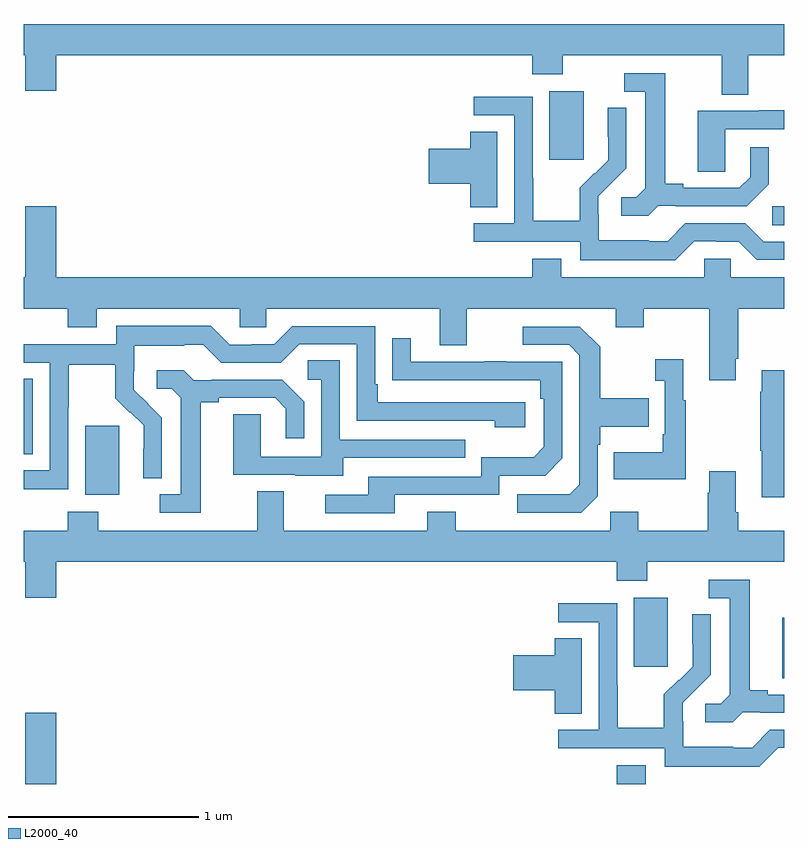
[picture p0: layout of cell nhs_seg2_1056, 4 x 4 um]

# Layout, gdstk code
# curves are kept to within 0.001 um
import gdstk
lib = gdstk.Library(unit=1e-6, precision=1e-09)
def R(c, l, rs):  # rectangles x0, y0, x1, y1
    for r in rs: c.add(gdstk.rectangle(r[:2], r[2:], *l))
def P(c, l, *ps):  # polygons
    for p in ps: c.add(gdstk.Polygon(p, *l))
L2000_40 = (2000, 40)

nhs_seg2_1056 = lib.new_cell('nhs_seg2_1056')
R(nhs_seg2_1056, L2000_40, [(165.008,647.8,165.172,648.175), (168.119,647.8,168.271,647.899), (168.989,648.355,169,648.675), (168.209,648.417,168.388,648.778), (165.323,649.322,165.502,649.683), (165,649.534,165.049,649.931), (168.936,650.737,169,650.838), (167.765,651.081,167.944,651.442)])
P(nhs_seg2_1056, L2000_40, [(168.811,651.632),(169,651.632),(169,651.796),(165,651.796),(165,651.632),(165.008,651.632),(165.008,651.444),(165.172,651.444),(165.172,651.632),(167.675,651.632),(167.675,651.533),(167.835,651.533),(167.835,651.632),(168.671,651.632),(168.671,651.424),(168.811,651.424)],
  [(168.336,650.841),(168.43,650.841),(168.43,650.838),(168.802,650.838),(168.918,650.954),(168.918,651.148),(168.821,651.148),(168.821,650.991),(168.764,650.934),(168.469,650.934),(168.469,650.957),(168.373,650.957),(168.373,651.537),(168.159,651.537),(168.159,651.441),(168.269,651.441),(168.269,650.933),(168.222,650.886),(168.141,650.886),(168.141,650.789),(168.284,650.789)],
  [(168.525,650.655),(168.641,650.655),(168.641,650.652),(168.759,650.652),(168.855,650.556),(169,650.556),(169,650.652),(168.891,650.652),(168.795,650.748),(168.48,650.748),(168.387,650.655),(168.287,650.655),(168.287,650.659),(168.024,650.659),(168.024,650.793),(168.022,650.793),(168.022,650.89),(168.168,651.038),(168.168,651.356),(168.072,651.356),(168.072,651.202),(168.074,651.202),(168.074,651.08),(168.003,651.009),(168,651.012),(167.923,650.935),(167.923,650.761),(167.679,650.761),(167.679,650.984),(167.676,650.984),(167.676,651.414),(167.367,651.414),(167.367,651.315),(167.58,651.315),(167.58,650.748),(167.367,650.748),(167.367,650.652),(167.928,650.652),(167.928,650.555),(168.425,650.555)],
  [(168.69,651.243),(169,651.243),(169,651.343),(168.869,651.343),(168.869,651.339),(168.545,651.339),(168.545,651.019),(168.69,651.019)],
  [(167.491,651.23),(167.348,651.23),(167.348,651.14),(167.13,651.14),(167.13,650.957),(167.348,650.957),(167.348,650.833),(167.491,650.833)],
  [(168.717,650.562),(168.579,650.562),(168.579,650.464),(167.827,650.464),(167.827,650.563),(167.675,650.563),(167.675,650.464),(165.172,650.464),(165.172,650.839),(165.008,650.839),(165.008,650.464),(165,650.464),(165,650.3),(165.233,650.3),(165.233,650.201),(165.385,650.201),(165.385,650.3),(166.137,650.3),(166.137,650.202),(166.275,650.202),(166.275,650.3),(167.189,650.3),(167.189,650.106),(167.329,650.106),(167.329,650.3),(168.113,650.3),(168.113,650.201),(168.261,650.201),(168.261,650.3),(168.605,650.3),(168.605,649.923),(168.745,649.923),(168.745,650.035),(168.758,650.035),(168.758,650.3),(169,650.3),(169,650.464),(168.717,650.464)],
  [(165.234,649.78),(165.237,649.78),(165.237,650.004),(165.481,650.004),(165.481,649.829),(165.558,649.752),(165.561,649.755),(165.632,649.685),(165.632,649.562),(165.63,649.562),(165.63,649.408),(165.726,649.408),(165.726,649.726),(165.58,649.874),(165.58,649.971),(165.582,649.971),(165.582,650.105),(165.845,650.105),(165.845,650.109),(165.945,650.109),(166.038,650.016),(166.353,650.016),(166.449,650.112),(166.752,650.112),(166.752,649.71),(167.477,649.71),(167.477,649.676),(167.638,649.676),(167.638,649.806),(166.861,649.806),(166.861,649.903),(166.848,649.903),(166.848,650.208),(166.413,650.208),(166.317,650.112),(166.199,650.112),(166.199,650.109),(166.083,650.109),(165.983,650.209),(165.486,650.209),(165.486,650.112),(165,650.112),(165,650.016),(165.138,650.016),(165.138,649.449),(165,649.449),(165,649.351),(165.234,649.351)],
  [(168.018,649.314),(168.018,649.583),(168.031,649.583),(168.031,649.679),(168.287,649.679),(168.287,649.827),(168.031,649.827),(168.031,650.099),(167.925,650.205),(167.625,650.205),(167.625,650.109),(167.868,650.109),(167.922,650.055),(167.922,649.374),(167.871,649.323),(167.595,649.323),(167.595,649.227),(167.931,649.227)],
  [(166.951,649.32),(167.502,649.32),(167.502,649.422),(167.742,649.422),(167.832,649.512),(167.832,650.019),(167.537,650.019),(167.537,650.024),(167.425,650.024),(167.425,650.019),(167.035,650.019),(167.035,650.143),(166.939,650.143),(166.939,649.924),(167.716,649.923),(167.716,649.826),(167.736,649.826),(167.736,649.572),(167.683,649.519),(167.406,649.519),(167.406,649.416),(166.811,649.416),(166.811,649.32),(166.587,649.32),(166.587,649.224),(166.951,649.224)],
  [(168.481,649.819),(168.469,649.819),(168.469,650.032),(168.321,650.032),(168.321,649.919),(168.372,649.919),(168.372,649.639),(168.36,649.639),(168.36,649.543),(168.103,649.543),(168.103,649.403),(168.481,649.403)],
  [(166.681,649.515),(167.321,649.515),(167.321,649.611),(166.662,649.611),(166.662,650.027),(166.494,650.027),(166.494,649.926),(166.566,649.926),(166.566,649.521),(166.248,649.521),(166.248,649.745),(166.103,649.745),(166.103,649.425),(166.427,649.425),(166.427,649.421),(166.681,649.421)],
  [(165.931,649.808),(166.027,649.808),(166.027,649.83),(166.322,649.83),(166.379,649.773),(166.379,649.617),(166.476,649.617),(166.476,649.81),(166.36,649.926),(165.988,649.926),(165.988,649.923),(165.894,649.923),(165.842,649.975),(165.699,649.975),(165.699,649.878),(165.78,649.878),(165.827,649.831),(165.827,649.323),(165.717,649.323),(165.717,649.227),(165.931,649.227)],
  [(169,649.975),(168.881,649.975),(168.881,649.862),(168.874,649.862),(168.874,649.551),(168.881,649.551),(168.881,649.308),(169,649.308)],
  [(165.172,648.968),(168.119,648.968),(168.119,648.869),(168.279,648.869),(168.279,648.968),(169,648.968),(169,649.132),(168.758,649.132),(168.758,649.228),(168.745,649.228),(168.745,649.444),(168.605,649.444),(168.605,649.331),(168.598,649.331),(168.598,649.132),(168.231,649.132),(168.231,649.231),(168.084,649.231),(168.084,649.132),(167.271,649.132),(167.271,649.231),(167.123,649.231),(167.123,649.132),(166.369,649.132),(166.369,649.34),(166.229,649.34),(166.229,649.132),(165.393,649.132),(165.393,649.231),(165.233,649.231),(165.233,649.132),(165,649.132),(165,648.968),(165.008,648.968),(165.008,648.78),(165.172,648.78)],
  [(168.78,648.177),(168.874,648.177),(168.874,648.174),(169,648.174),(169,648.27),(168.913,648.27),(168.913,648.293),(168.817,648.293),(168.817,648.873),(168.603,648.873),(168.603,648.777),(168.713,648.777),(168.713,648.269),(168.666,648.222),(168.585,648.222),(168.585,648.125),(168.728,648.125)],
  [(168.969,647.991),(169,647.991),(169,648.084),(168.924,648.084),(168.831,647.991),(168.731,647.991),(168.731,647.995),(168.468,647.995),(168.468,648.129),(168.466,648.129),(168.466,648.226),(168.612,648.374),(168.612,648.692),(168.516,648.692),(168.516,648.538),(168.518,648.538),(168.518,648.416),(168.447,648.345),(168.444,648.348),(168.367,648.271),(168.367,648.097),(168.123,648.097),(168.123,648.32),(168.12,648.32),(168.12,648.75),(167.811,648.75),(167.811,648.651),(168.024,648.651),(168.024,648.084),(167.811,648.084),(167.811,647.988),(168.372,647.988),(168.372,647.891),(168.869,647.891)],
  [(167.935,648.566),(167.792,648.566),(167.792,648.476),(167.574,648.476),(167.574,648.293),(167.792,648.293),(167.792,648.169),(167.935,648.169)])

lib.write_gds('nhs_seg2_1056.gds')
